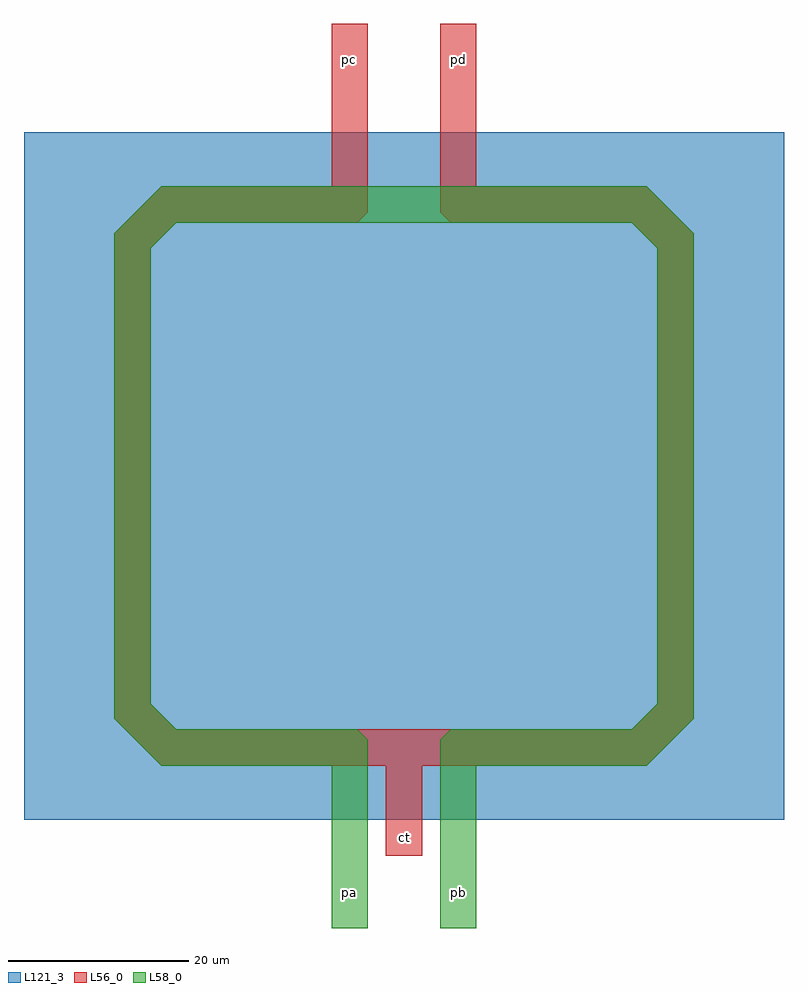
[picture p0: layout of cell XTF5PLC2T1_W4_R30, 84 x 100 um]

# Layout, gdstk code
import gdstk
lib = gdstk.Library(unit=1e-6, precision=1e-09)
def R(c, l, rs):  # rectangles x0, y0, x1, y1
    for r in rs: c.add(gdstk.rectangle(r[:2], r[2:], *l))
def P(c, l, *ps):  # polygons
    for p in ps: c.add(gdstk.Polygon(p, *l))
L56_0 = (56, 0)
L58_0 = (58, 0)
L121_3 = (121, 3)

xtf5plc2t1_w4_r30 = lib.new_cell('XTF5PLC2T1_W4_R30')
R(xtf5plc2t1_w4_r30, L56_0, [(-1.5,-42,1.5,-38), (-8,42,-4,50), (4,42,8,50)])
P(xtf5plc2t1_w4_r30, L56_0, [(5.172,28),(4,29.172),(4,50),(8,50),(8,29.172),(6.828,28)],
  [(5.172,28),(4,29.172),(4,30.828),(5.172,32),(26.828,32),(28,30.828),(28,29.172),(26.828,28)],
  [(29.172,24),(24,29.172),(24,30.828),(25.172,32),(26.828,32),(32,26.828),(32,25.172),(30.828,24)],
  [(29.172,-28),(28,-26.828),(28,26.828),(29.172,28),(30.828,28),(32,26.828),(32,-26.828),(30.828,-28)],
  [(25.172,-32),(24,-30.828),(24,-29.172),(29.172,-24),(30.828,-24),(32,-25.172),(32,-26.828),(26.828,-32)],
  [(-26.828,-32),(-28,-30.828),(-28,-29.172),(-26.828,-28),(26.828,-28),(28,-29.172),(28,-30.828),(26.828,-32)],
  [(-26.828,-32),(-32,-26.828),(-32,-25.172),(-30.828,-24),(-29.172,-24),(-24,-29.172),(-24,-30.828),(-25.172,-32)],
  [(-30.828,-28),(-32,-26.828),(-32,26.828),(-30.828,28),(-29.172,28),(-28,26.828),(-28,-26.828),(-29.172,-28)],
  [(-30.828,24),(-32,25.172),(-32,26.828),(-26.828,32),(-25.172,32),(-24,30.828),(-24,29.172),(-29.172,24)],
  [(-26.828,28),(-28,29.172),(-28,30.828),(-26.828,32),(-5.172,32),(-4,30.828),(-4,29.172),(-5.172,28)],
  [(-6.828,28),(-8,29.172),(-8,50),(-4,50),(-4,29.172),(-5.172,28)])
R(xtf5plc2t1_w4_r30, L58_0, [(-8,-50,-4,-42), (4,-50,8,-42)])
P(xtf5plc2t1_w4_r30, L58_0, [(4,-50),(4,-29.172),(5.172,-28),(6.828,-28),(8,-29.172),(8,-50)],
  [(5.172,-32),(4,-30.828),(4,-29.172),(5.172,-28),(26.828,-28),(28,-29.172),(28,-30.828),(26.828,-32)],
  [(25.172,-32),(24,-30.828),(24,-29.172),(29.172,-24),(30.828,-24),(32,-25.172),(32,-26.828),(26.828,-32)],
  [(29.172,-28),(28,-26.828),(28,26.828),(29.172,28),(30.828,28),(32,26.828),(32,-26.828),(30.828,-28)],
  [(29.172,24),(24,29.172),(24,30.828),(25.172,32),(26.828,32),(32,26.828),(32,25.172),(30.828,24)],
  [(-26.828,28),(-28,29.172),(-28,30.828),(-26.828,32),(26.828,32),(28,30.828),(28,29.172),(26.828,28)],
  [(-30.828,24),(-32,25.172),(-32,26.828),(-26.828,32),(-25.172,32),(-24,30.828),(-24,29.172),(-29.172,24)],
  [(-30.828,-28),(-32,-26.828),(-32,26.828),(-30.828,28),(-29.172,28),(-28,26.828),(-28,-26.828),(-29.172,-28)],
  [(-26.828,-32),(-32,-26.828),(-32,-25.172),(-30.828,-24),(-29.172,-24),(-24,-29.172),(-24,-30.828),(-25.172,-32)],
  [(-26.828,-32),(-28,-30.828),(-28,-29.172),(-26.828,-28),(-5.172,-28),(-4,-29.172),(-4,-30.828),(-5.172,-32)],
  [(-8,-50),(-8,-29.172),(-6.828,-28),(-5.172,-28),(-4,-29.172),(-4,-50)])
R(xtf5plc2t1_w4_r30, L121_3, [(-42,-38,42,38)])
xtf5plc2t1_w4_r30.add(gdstk.FlexPath([(0,-30),(0,-42)], 4, ends="flush", simple_path=True, layer=56, datatype=0))  # L56_0
xtf5plc2t1_w4_r30.add(gdstk.Label('pb', (6,-46), layer=58, texttype=0))
xtf5plc2t1_w4_r30.add(gdstk.Label('pa', (-6,-46), layer=58, texttype=0))
xtf5plc2t1_w4_r30.add(gdstk.Label('ct', (0,-40), layer=56, texttype=0))
xtf5plc2t1_w4_r30.add(gdstk.Label('pd', (6,46), layer=56, texttype=0))
xtf5plc2t1_w4_r30.add(gdstk.Label('pc', (-6,46), layer=56, texttype=0))

lib.write_gds('XTF5PLC2T1_W4_R30.gds')
